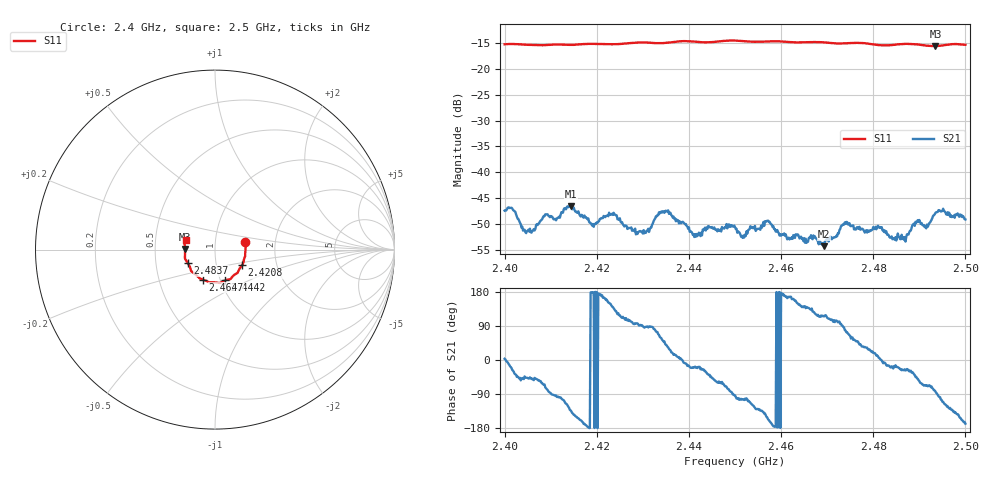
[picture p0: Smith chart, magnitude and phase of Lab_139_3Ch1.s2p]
# Hz S RI R 50
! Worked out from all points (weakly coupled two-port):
!   601 points, 2.4 GHz to 2.5 GHz, reference 50 ohm
!   highest |S21| = -46.55 dB at 2.4143 GHz (marker M1); lowest = -54.3 dB at 2.4693 GHz (marker M2)
!   lowest |S11| = -15.6 dB at 2.4935 GHz (marker M3), VSWR 1.40, Z = 35.8 + j0.214 ohm
!   |S11| at or under -10 dB: start of sweep to end of sweep
!   S12 and S22 are empty: the file has one direction only
!   S11 on the Smith chart (normalised r, x): 2.4 GHz: 1.40, +0.12; 2.4208 GHz: 1.33, -0.24; 2.4442 GHz: 1.05, -0.37; 2.4647 GHz: 0.83, -0.29; 2.4837 GHz: 0.73, -0.11; 2.5 GHz: 0.72, +0.08
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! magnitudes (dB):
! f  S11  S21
! 2.4 GHz  -15.3  -47.4
! 2.4048 GHz  -15.3  -51.4
! 2.4143 GHz  -15.4  -46.5
! 2.4167 GHz  -15.2  -48.3
! 2.4208 GHz  -15.2  -49.0
! 2.4238 GHz  -15.2  -48.2
! 2.4302 GHz  -14.9  -51.2
! 2.4333 GHz  -15.0  -48.3
! 2.4413 GHz  -14.7  -52.0
! 2.4442 GHz  -14.9  -50.4
! 2.45 GHz  -14.5  -50.6
! 2.4518 GHz  -14.6  -52.3
! 2.457 GHz  -14.7  -49.4
! 2.4647 GHz  -14.9  -52.9
! 2.4667 GHz  -14.8  -52.8
! 2.4693 GHz  -14.9  -54.3
! 2.4738 GHz  -15.1  -49.7
! 2.4833 GHz  -15.5  -52.2
! 2.4837 GHz  -15.4  -52.7
! 2.4868 GHz  -15.2  -52.6
! 2.4935 GHz  -15.6  -47.9
! 2.5 GHz  -15.4  -49.1
